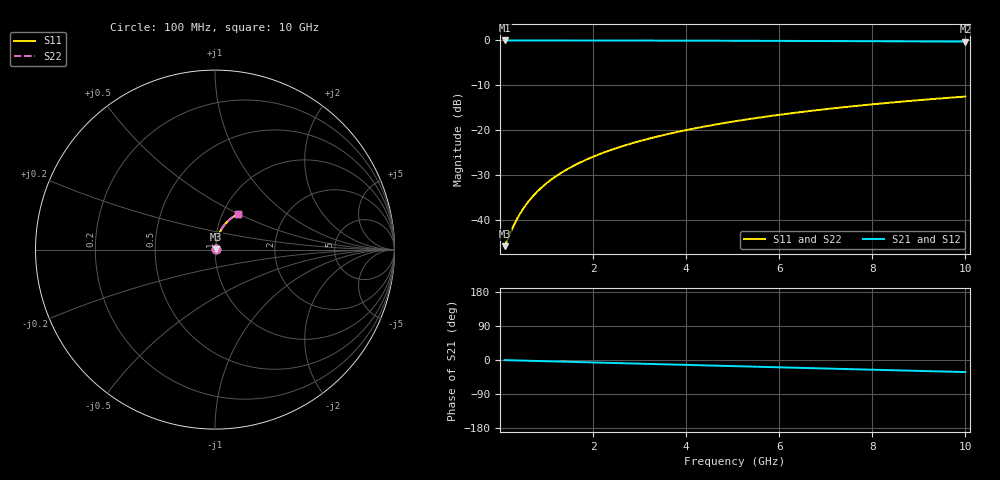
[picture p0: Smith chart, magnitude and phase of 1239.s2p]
# Hz S RI R 50.00
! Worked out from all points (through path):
!   100 points, 100 MHz to 10 GHz, reference 50 ohm
!   highest |S21| = -0.04 dB at 100 MHz (marker M1); lowest = -0.3 dB at 10 GHz (marker M2)
!   group delay of S21, straight-line fit = 8.86 ps
!   lowest |S11| = -45.8 dB at 100 MHz (marker M3), VSWR 1.01, Z = 50.5 + j0.253 ohm
!   |S11| at or under -10 dB: start of sweep to end of sweep
!   |S22| runs from -45.8 to -12.5 dB; largest |S21 - S12| = 0
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1e8  0.0045 0.00251  0.9955 -0.00562  0.9955 -0.00562  0.0045 0.00251
3e8  0.00466 0.00753  0.9953 -0.0168  0.9953 -0.0168  0.00466 0.00753
4e8  0.00478 0.01  0.9951 -0.0225  0.9951 -0.0225  0.00478 0.01
5e8  0.00492 0.0125  0.9949 -0.0281  0.9949 -0.0281  0.00492 0.0125
6e8  0.00509 0.015  0.9947 -0.0337  0.9947 -0.0337  0.00509 0.015
7e8  0.00528 0.0175  0.9945 -0.0393  0.9945 -0.0393  0.00528 0.0175
9e8  0.00575 0.0225  0.9938 -0.0505  0.9938 -0.0505  0.00575 0.0225
1e9  0.00603 0.025  0.9935 -0.0561  0.9935 -0.0561  0.00603 0.025
1.2e9  0.00667 0.03  0.9926 -0.0673  0.9926 -0.0673  0.00667 0.03
1.5e9  0.00783 0.0374  0.991 -0.084  0.991 -0.084  0.00783 0.0374
1.8e9  0.00924 0.0448  0.9891 -0.1007  0.9891 -0.1007  0.00924 0.0448
2.1e9  0.0109 0.0522  0.9869 -0.1174  0.9869 -0.1174  0.0109 0.0522
2.5e9  0.0135 0.0618  0.9834 -0.1395  0.9834 -0.1395  0.0135 0.0618
2.9e9  0.0165 0.0713  0.9793 -0.1615  0.9793 -0.1615  0.0165 0.0713
3.4e9  0.0209 0.083  0.9734 -0.1887  0.9734 -0.1887  0.0209 0.083
4.2e9  0.0292 0.1011  0.9621 -0.2317  0.9621 -0.2317  0.0292 0.1011
5.1e9  0.0404 0.1205  0.9468 -0.279  0.9468 -0.279  0.0404 0.1205
5.9e9  0.0519 0.1365  0.931 -0.32  0.931 -0.32  0.0519 0.1365
6.7e9  0.0647 0.1515  0.9131 -0.3599  0.9131 -0.3599  0.0647 0.1515
7.5e9  0.0787 0.1652  0.8934 -0.3985  0.8934 -0.3985  0.0787 0.1652
8.4e9  0.0958 0.1789  0.8692 -0.4403  0.8692 -0.4403  0.0958 0.1789
1e10  0.1288 0.1989  0.8212 -0.51  0.8212 -0.51  0.1288 0.1989
